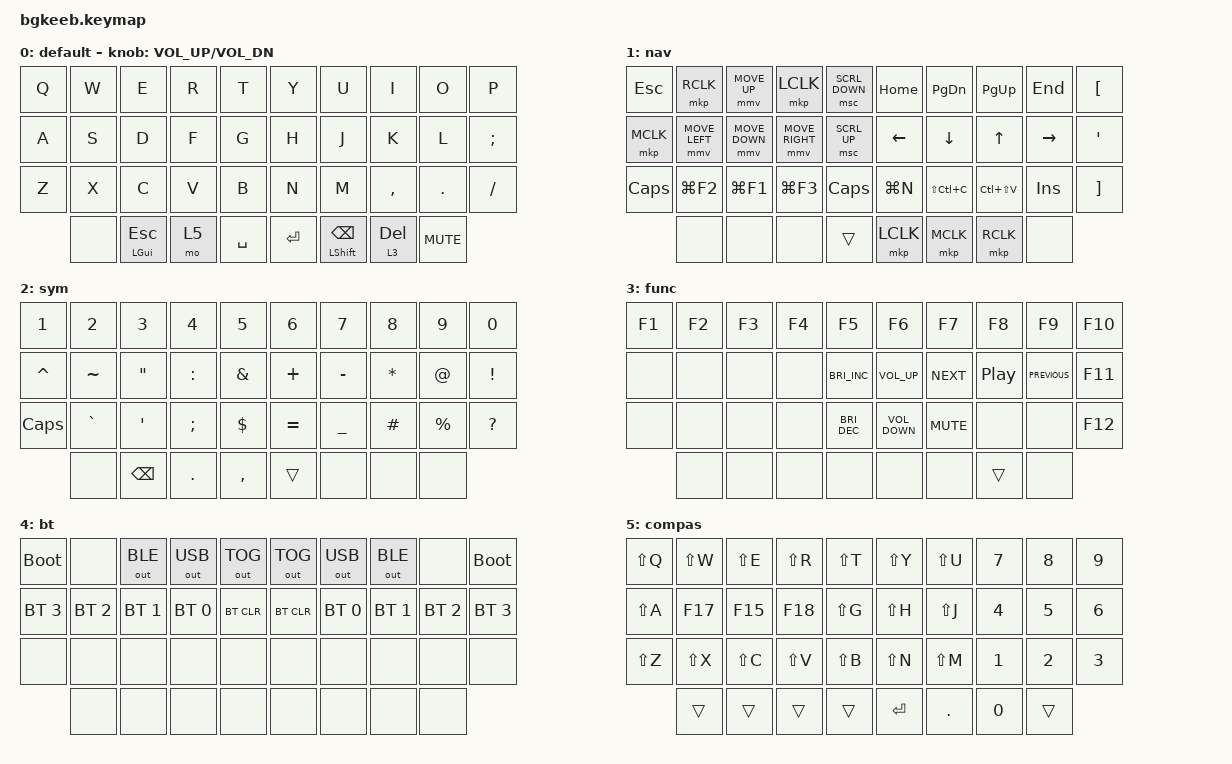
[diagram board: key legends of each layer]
// used swweeep default keymap

#define ZMK_POINTING_DEFAULT_MOVE_VAL 1500
#define ZMK_POINTING_DEFAULT_SCRL_VAL 20

#include <behaviors.dtsi>
#include <dt-bindings/zmk/bt.h>
#include <dt-bindings/zmk/keys.h>
#include <dt-bindings/zmk/outputs.h>
#include <dt-bindings/zmk/pointing.h>

&lt { tapping-term-ms = <150>; };

/ {
    combos {
        compatible = "zmk,combos";

        a1 {
            bindings = <&kp LEFT_PARENTHESIS>;
            key-positions = <13 12>;
        };

        a2 {
            bindings = <&kp RIGHT_PARENTHESIS>;
            key-positions = <16 17>;
        };

        b1 {
            bindings = <&kp LEFT_BRACKET>;
            key-positions = <12 11>;
        };

        b2 {
            bindings = <&kp RIGHT_BRACKET>;
            key-positions = <17 18>;
        };

        c1 {
            bindings = <&kp LEFT_BRACE>;
            key-positions = <23 22>;
        };

        c2 {
            bindings = <&kp RIGHT_BRACE>;
            key-positions = <26 27>;
        };

        d1 {
            bindings = <&kp BACKSLASH>;
            key-positions = <14 13>;
        };

        d2 {
            bindings = <&kp PIPE>;
            key-positions = <15 16>;
        };

        caps_word {
            bindings = <&caps_word>;
            key-positions = <14 15>;
        };

        e1 {
            bindings = <&kp LESS_THAN>;
            key-positions = <21 22>;
        };

        e2 {
            bindings = <&kp GREATER_THAN>;
            key-positions = <27 28>;
        };

        esq_combo {
            bindings = <&kp ESCAPE>;
            key-positions = <2 3>;
        };

        del_combo {
            bindings = <&kp DELETE>;
            key-positions = <7 6>;
        };

        rus_letter_1 {
            bindings = <&kp LEFT_BRACKET>;
            key-positions = <6 9>;
        };

        rus_letter_2 {
            bindings = <&kp SINGLE_QUOTE>;
            key-positions = <16 19>;
        };

        rus_letter_3 {
            bindings = <&kp RIGHT_BRACKET>;
            key-positions = <26 29>;
        };

        get_bt {
            bindings = <&mo 4>;
            key-positions = <31 36>;
        };

        get_bt_left {
            bindings = <&mo 4>;
            key-positions = <31 32>;
        };

        get_bt_right {
            bindings = <&mo 4>;
            key-positions = <36 35>;
        };
    };

    keymap {
        compatible = "zmk,keymap";

        default {
            bindings = <
&kp Q    &kp W    &kp E                  &kp R    &kp T        &kp Y        &kp U                       &kp I           &kp O         &kp P
&kp A    &kp S    &kp D                  &kp F    &kp G        &kp H        &kp J                       &kp K           &kp L         &kp SEMI
&kp Z    &kp X    &kp C                  &kp V    &kp B        &kp N        &kp M                       &kp COMMA       &kp DOT       &kp FSLH
         &none    &mt LEFT_GUI ESCAPE    &mo 5    &kp SPACE    &kp ENTER    &mt LEFT_SHIFT BACKSPACE    &lt 3 DELETE    &kp C_MUTE
            >;

            sensor-bindings = <&inc_dec_kp C_VOLUME_UP C_VOL_DN>;
        };

        nav {
            bindings = <
&kp ESC         &mkp RCLK         &mmv MOVE_UP      &mkp LCLK          &msc SCRL_DOWN    &kp HOME          &kp PAGE_DOWN     &kp PAGE_UP      &kp END            &kp LEFT_BRACKET
&mkp MCLK       &mmv MOVE_LEFT    &mmv MOVE_DOWN    &mmv MOVE_RIGHT    &msc SCRL_UP      &kp LEFT_ARROW    &kp DOWN_ARROW    &kp UP_ARROW     &kp RIGHT_ARROW    &kp SINGLE_QUOTE
&kp CAPSLOCK    &kp LG(F2)        &kp LG(F1)        &kp LG(F3)         &kp CAPSLOCK      &kp LG(N)         &kp LS(LC(C))     &kp LC(LS(V))    &kp INSERT         &kp RIGHT_BRACKET
                &none             &none             &none              &trans            &mkp LCLK         &mkp MCLK         &mkp RCLK        &none
            >;
        };

        sym {
            bindings = <
&kp NUMBER_1    &kp NUMBER_2    &kp NUMBER_3         &kp NUMBER_4     &kp NUMBER_5     &kp NUMBER_6    &kp NUMBER_7      &kp NUMBER_8    &kp NUMBER_9    &kp NUMBER_0
&kp CARET       &kp TILDE       &kp DOUBLE_QUOTES    &kp COLON        &kp AMPERSAND    &kp PLUS        &kp MINUS         &kp ASTERISK    &kp AT_SIGN     &kp EXCLAMATION
&kp CAPSLOCK    &kp GRAVE       &kp SINGLE_QUOTE     &kp SEMICOLON    &kp DOLLAR       &kp EQUAL       &kp UNDERSCORE    &kp HASH        &kp PERCENT     &kp QUESTION
                &none           &kp BACKSPACE        &kp PERIOD       &kp COMMA        &trans          &none             &none           &none
            >;
        };

        func {
            bindings = <
&kp F1    &kp F2    &kp F3    &kp F4    &kp F5                  &kp F6               &kp F7        &kp F8              &kp F9            &kp F10
&none     &none     &none     &none     &kp C_BRIGHTNESS_INC    &kp C_VOL_UP         &kp C_NEXT    &kp C_PLAY_PAUSE    &kp C_PREVIOUS    &kp F11
&none     &none     &none     &none     &kp C_BRIGHTNESS_DEC    &kp C_VOLUME_DOWN    &kp C_MUTE    &none               &none             &kp F12
          &none     &none     &none     &none                   &none                &none         &trans              &none
            >;
        };

        bt {
            bindings = <
&bootloader     &none           &out OUT_BLE    &out OUT_USB    &out OUT_TOG    &out OUT_TOG    &out OUT_USB    &out OUT_BLE    &none           &bootloader
&bt BT_SEL 3    &bt BT_SEL 2    &bt BT_SEL 1    &bt BT_SEL 0    &bt BT_CLR      &bt BT_CLR      &bt BT_SEL 0    &bt BT_SEL 1    &bt BT_SEL 2    &bt BT_SEL 3
&none           &none           &none           &none           &none           &none           &none           &none           &none           &none
                &none           &none           &none           &none           &none           &none           &none           &none
            >;
        };

        compas {
            bindings = <
&kp LS(Q)    &kp LS(W)    &kp LS(E)    &kp LS(R)    &kp LS(T)    &kp LS(Y)    &kp LS(U)    &kp N7    &kp N8    &kp N9
&kp LS(A)    &kp F17      &kp F15      &kp F18      &kp LS(G)    &kp LS(H)    &kp LS(J)    &kp N4    &kp N5    &kp N6
&kp LS(Z)    &kp LS(X)    &kp LS(C)    &kp LS(V)    &kp LS(B)    &kp LS(N)    &kp LS(M)    &kp N1    &kp N2    &kp N3
             &trans       &trans       &trans       &trans       &kp ENTER    &kp DOT      &kp N0    &trans
            >;
        };
    };
};
